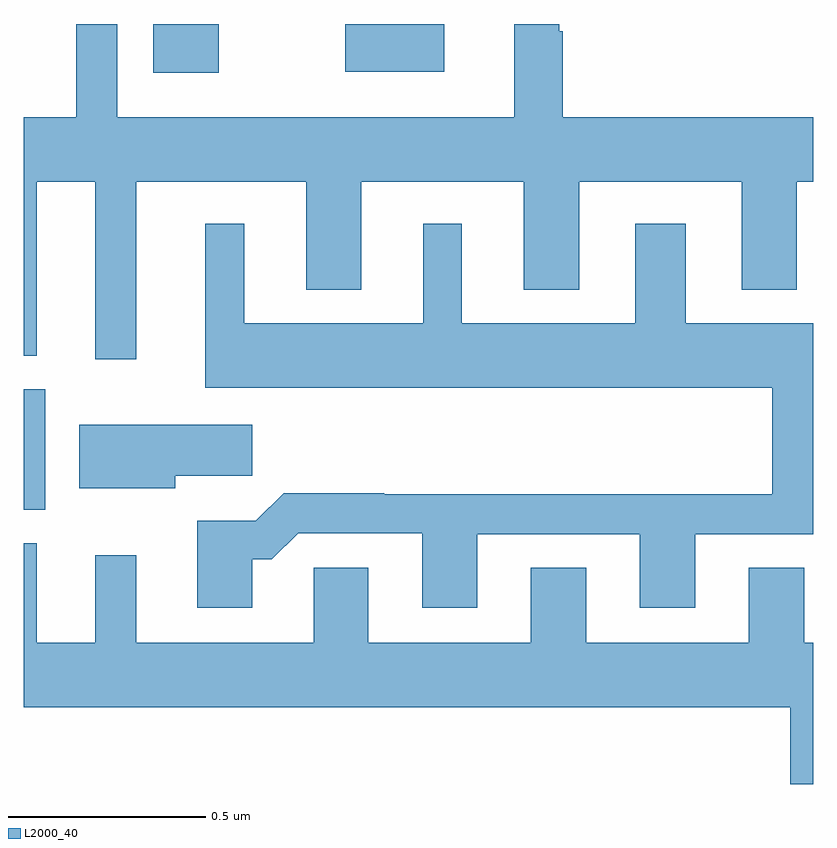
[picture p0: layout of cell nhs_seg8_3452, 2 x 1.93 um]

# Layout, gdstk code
import gdstk
lib = gdstk.Library(unit=1e-6, precision=1e-09)
def R(c, l, rs):  # rectangles x0, y0, x1, y1
    for r in rs: c.add(gdstk.rectangle(r[:2], r[2:], *l))
def P(c, l, *ps):  # polygons
    for p in ps: c.add(gdstk.Polygon(p, *l))
L2000_40 = (2000, 40)

nhs_seg8_3452 = lib.new_cell('nhs_seg8_3452')
R(nhs_seg8_3452, L2000_40, [(157,1115.669,157.054,1115.974), (157.328,1116.777,157.494,1116.9), (157.814,1116.779,158.065,1116.9)])
P(nhs_seg8_3452, L2000_40, [(157.285,1116.5),(157.715,1116.5),(157.715,1116.227),(157.855,1116.227),(157.855,1116.5),(158.267,1116.5),(158.267,1116.227),(158.407,1116.227),(158.407,1116.5),(158.819,1116.5),(158.819,1116.227),(158.959,1116.227),(158.959,1116.5),(159,1116.5),(159,1116.664),(158.365,1116.664),(158.365,1116.881),(158.357,1116.881),(158.357,1116.9),(158.243,1116.9),(158.243,1116.664),(157.237,1116.664),(157.237,1116.9),(157.133,1116.9),(157.133,1116.664),(157,1116.664),(157,1116.059),(157.033,1116.059),(157.033,1116.5),(157.181,1116.5),(157.181,1116.051),(157.285,1116.051)],
  [(157.579,1115.543),(157.628,1115.543),(157.695,1115.61),(158.009,1115.61),(158.009,1115.421),(158.149,1115.421),(158.149,1115.607),(158.561,1115.607),(158.561,1115.421),(158.701,1115.421),(158.701,1115.607),(159,1115.607),(159,1116.142),(158.677,1116.142),(158.677,1116.394),(158.549,1116.394),(158.549,1116.142),(158.11,1116.142),(158.11,1116.394),(158.012,1116.394),(158.012,1116.142),(157.558,1116.142),(157.558,1116.394),(157.46,1116.394),(157.46,1115.978),(158.897,1115.978),(158.897,1115.708),(157.913,1115.708),(157.913,1115.711),(157.658,1115.711),(157.588,1115.641),(157.439,1115.641),(157.439,1115.421),(157.579,1115.421)],
  [(157.384,1115.755),(157.579,1115.755),(157.579,1115.884),(157.14,1115.884),(157.14,1115.723),(157.384,1115.723)],
  [(158.285,1115.522),(158.285,1115.332),(157.873,1115.332),(157.873,1115.522),(157.734,1115.522),(157.734,1115.332),(157.285,1115.332),(157.285,1115.554),(157.181,1115.554),(157.181,1115.332),(157.033,1115.332),(157.033,1115.584),(157,1115.584),(157,1115.168),(158.942,1115.168),(158.942,1114.974),(159,1114.974),(159,1115.332),(158.977,1115.332),(158.977,1115.522),(158.837,1115.522),(158.837,1115.332),(158.425,1115.332),(158.425,1115.522)])

lib.write_gds('nhs_seg8_3452.gds')
